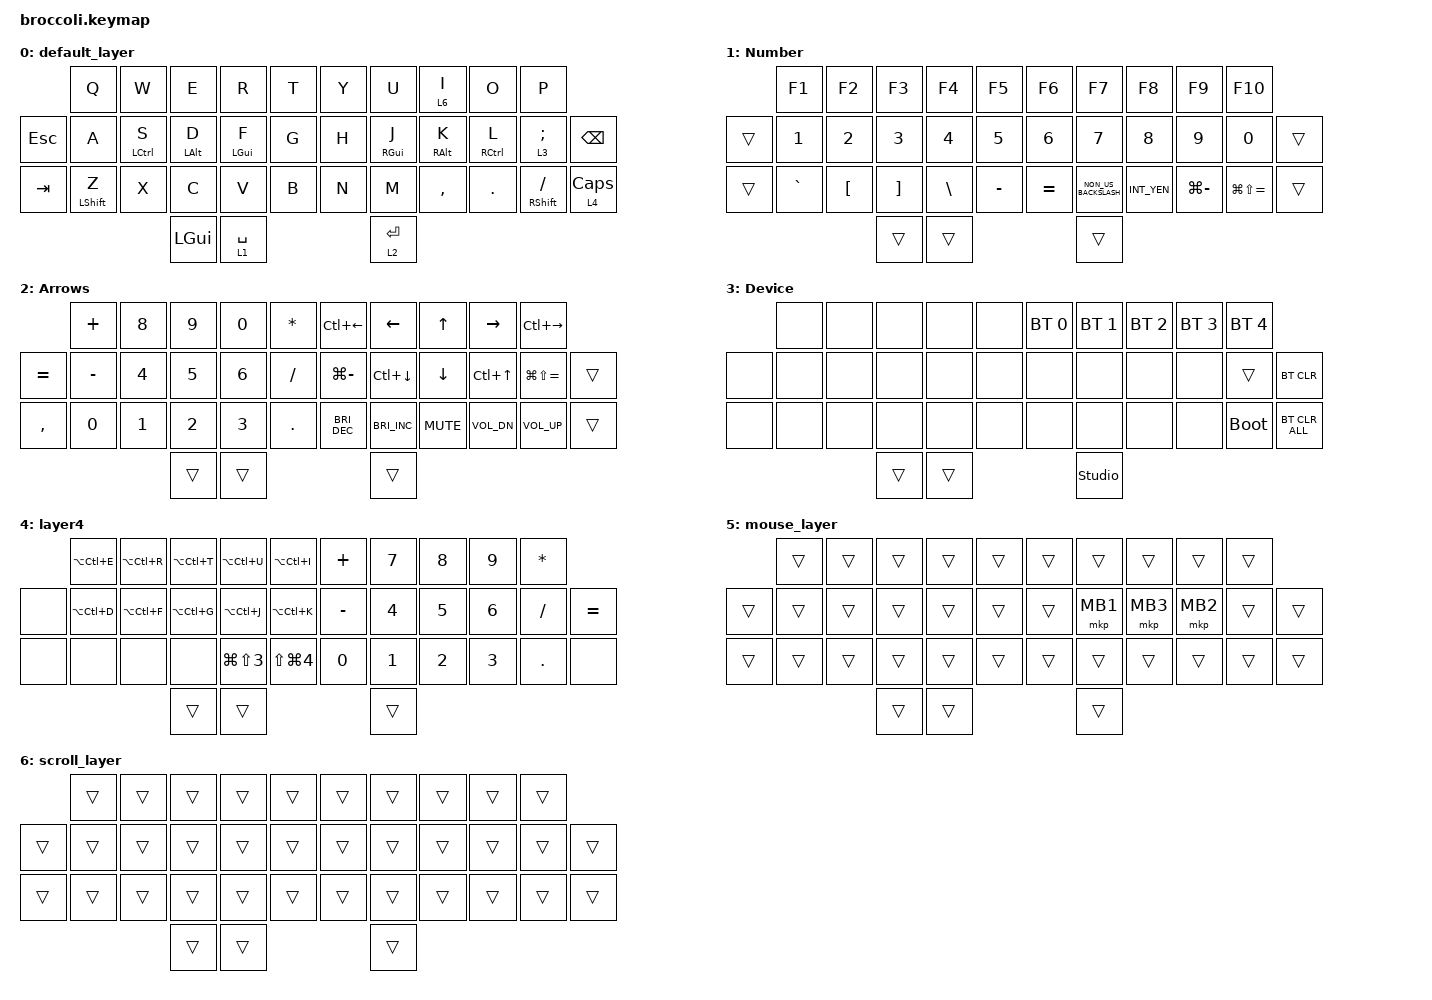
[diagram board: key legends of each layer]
// This file was generated from a template. Edit it to match your keyboard.
// See https://zmk.dev/docs/development/hardware-integration/new-shield for more instructions.

#include <input/processors.dtsi>
#include <dt-bindings/zmk/input_transform.h>
#include <dt-bindings/zmk/mouse.h>
#include <behaviors.dtsi>
#include <dt-bindings/zmk/bt.h>
#include <dt-bindings/zmk/keys.h>
#include <dt-bindings/zmk/pointing.h>

/ {
    // Define a default keymap here.
    // See https://zmk.dev/docs/development/hardware-integration/new-shield#default-keymap.

    keymap {
        compatible = "zmk,keymap";

        default_layer {
            bindings = <
         &kp Q             &kp W               &kp E           &kp R           &kp T    &kp Y  &kp U            &lt 6 I             &kp O                &kp P
&kp ESC  &kp A             &mt LEFT_CONTROL S  &mt LEFT_ALT D  &mt LEFT_GUI F  &kp G    &kp H  &mt RIGHT_GUI J  &hmr_r RIGHT_ALT K  &mt RIGHT_CONTROL L  &lt 3 SEMICOLON        &kp BACKSPACE
&kp TAB  &mt LEFT_SHIFT Z  &kp X               &kp C           &kp V           &kp B    &kp N  &kp M            &kp COMMA           &kp DOT              &mt RIGHT_SHIFT SLASH  &lt 4 CAPSLOCK
                                               &kp LEFT_GUI    &lt 1 SPACE                     &lt 2 ENTER
            >;
        };

        Number {
            bindings = <
        &kp F1     &kp F2    &kp F3    &kp F4    &kp F5       &kp F6     &kp F7                &kp F8       &kp F9         &kp F10
&trans  &kp N1     &kp N2    &kp N3    &kp N4    &kp N5       &kp N6     &kp N7                &kp N8       &kp N9         &kp N0             &trans
&trans  &kp GRAVE  &kp LBKT  &kp RBKT  &kp BSLH  &kp MINUS    &kp EQUAL  &kp NON_US_BACKSLASH  &kp INT_YEN  &kp LG(MINUS)  &kp LG(LS(EQUAL))  &trans
                             &trans    &trans                            &trans
            >;
        };

        Arrows {
            bindings = <
           &kp PLUS   &kp N8  &kp N9  &kp N0  &kp ASTERISK    &kp LC(LEFT_ARROW)    &kp LEFT              &kp UP_ARROW    &kp RIGHT         &kp LC(RIGHT)
&kp EQUAL  &kp MINUS  &kp N4  &kp N5  &kp N6  &kp FSLH        &kp LG(MINUS)         &kp LC(DOWN)          &kp DOWN_ARROW  &kp LC(UP_ARROW)  &kp LG(LS(EQUAL))  &trans
&kp COMMA  &kp N0     &kp N1  &kp N2  &kp N3  &kp DOT         &kp C_BRIGHTNESS_DEC  &kp C_BRIGHTNESS_INC  &kp K_MUTE      &kp C_VOL_DN      &kp C_VOLUME_UP    &trans
                              &trans  &trans                                        &trans
            >;
        };

        Device {
            bindings = <
       &none  &none  &none   &none   &none    &bt BT_SEL 0  &bt BT_SEL 1    &bt BT_SEL 2  &bt BT_SEL 3  &bt BT_SEL 4
&none  &none  &none  &none   &none   &none    &none         &none           &none         &none         &trans        &bt BT_CLR
&none  &none  &none  &none   &none   &none    &none         &none           &none         &none         &bootloader   &bt BT_CLR_ALL
                     &trans  &trans                         &studio_unlock
            >;
        };

        layer4 {
            bindings = <
       &kp LA(LC(E))  &kp LA(LC(R))  &kp LA(LC(T))  &kp LA(LC(U))         &kp LA(LC(I))           &kp PLUS   &kp N7  &kp N8  &kp N9  &kp ASTERISK
&none  &kp LA(LC(D))  &kp LA(LC(F))  &kp LA(LC(G))  &kp LA(LC(J))         &kp LA(LC(K))           &kp MINUS  &kp N4  &kp N5  &kp N6  &kp FSLH      &kp EQUAL
&none  &none          &none          &none          &kp LG(LS(NUMBER_3))  &kp LS(LG(NUMBER_4))    &kp N0     &kp N1  &kp N2  &kp N3  &kp DOT       &none
                                     &trans         &trans                                                   &trans
            >;
        };

        mouse_layer {
            bindings = <
        &trans  &trans  &trans  &trans  &trans    &trans  &trans    &trans    &trans    &trans
&trans  &trans  &trans  &trans  &trans  &trans    &trans  &mkp MB1  &mkp MB3  &mkp MB2  &trans  &trans
&trans  &trans  &trans  &trans  &trans  &trans    &trans  &trans    &trans    &trans    &trans  &trans
                        &trans  &trans                    &trans
            >;

            label = "mouse_layer";
        };

        scroll_layer {
            bindings = <
        &trans  &trans  &trans  &trans  &trans    &trans  &trans  &trans  &trans  &trans
&trans  &trans  &trans  &trans  &trans  &trans    &trans  &trans  &trans  &trans  &trans  &trans
&trans  &trans  &trans  &trans  &trans  &trans    &trans  &trans  &trans  &trans  &trans  &trans
                        &trans  &trans                    &trans
            >;

            label = "scroll_layer";
        };
    };

    combos {
        compatible = "zmk,combos";

        Tab {
            bindings = <&kp TAB>;
            key-positions = <1 2>;
            layers = <0>;
            require-prior-idle-ms = <150>;
        };

        Escape {
            bindings = <&kp ESC>;
            key-positions = <0 1>;
            layers = <0>;
            require-prior-idle-ms = <150>;
        };

        Scroll {
            bindings = <&mo 3>;
            key-positions = <17 18 19>;
            layers = <0>;
        };
    };

    behaviors {
        auto_caps_word: auto_caps_word {
            compatible = "zmk,behavior-auto-caps-word";
            #binding-cells = <0>;
            continue-list = <INT1 BACKSPACE DELETE>;
            display-name = "Auto Caps Word";
            auto-activate-upper-count = <3>;
        };

        hmr_l: hmr_l {
            compatible = "zmk,behavior-hold-tap";
            label = "HMR_L";
            bindings = <&kp>, <&kp>;

            #binding-cells = <2>;
            tapping-term-ms = <300>;
            flavor = "balanced";
            hold-trigger-key-positions = <5 32 33 28 29 19 18 17 16 6 7 8 9 20 21 30 31>;
            hold-trigger-on-release;
            require-prior-idle-ms = <150>;
        };

        hmr_r: hmr_r {
            compatible = "zmk,behavior-hold-tap";
            label = "HMR_R";
            bindings = <&kp>, <&kp>;

            #binding-cells = <2>;
            tapping-term-ms = <300>;
            flavor = "balanced";
            hold-trigger-key-positions = <22 23 24 14 13 12 11 10 0 1 2 3 4 15 25 26 27>;
            hold-trigger-on-release;
            require-prior-idle-ms = <150>;
        };

        lt_thumb: lt_thumb {
            compatible = "zmk,behavior-hold-tap";
            label = "LT_THUMB";
            bindings = <&mo>, <&kp>;

            #binding-cells = <2>;
            tapping-term-ms = <250>;
        };

        lt_arrow: lt_arrow {
            compatible = "zmk,behavior-hold-tap";
            label = "LT_ARROW";
            bindings = <&mo>, <&kp>;

            #binding-cells = <2>;
            flavor = "balanced";
            tapping-term-ms = <200>;
            require-prior-idle-ms = <150>;
        };

        lt_scroll: lt_scroll {
            compatible = "zmk,behavior-hold-tap";
            label = "LT_SCROLL";
            #binding-cells = <2>;
            tapping-term-ms = <300>;
            flavor = "tap-preferred";
            bindings = <&mo>, <&kp>;

            hold-while-undecided;
            require-prior-idle-ms = <150>;
        };

        hmr_l_2: hmr_l_2 {
            compatible = "zmk,behavior-hold-tap";
            label = "HMR_L_2";
            bindings = <&kp>, <&kp>;

            #binding-cells = <2>;
            tapping-term-ms = <300>;
            flavor = "balanced";
            hold-trigger-key-positions = <5 32 33 28 29 19 18 17 16 6 7 8 9 21 20 31 30>;
            hold-trigger-on-release;
            require-prior-idle-ms = <150>;
            hold-while-undecided;
        };

        hmr_r_2: hmr_r_2 {
            compatible = "zmk,behavior-hold-tap";
            label = "HMR_R_2";
            bindings = <&kp>, <&kp>;

            #binding-cells = <2>;
            tapping-term-ms = <300>;
            flavor = "balanced";
            hold-trigger-key-positions = <22 23 24 14 13 12 11 10 0 1 2 3 4 25 26 27 15>;
            hold-trigger-on-release;
            require-prior-idle-ms = <150>;
            hold-while-undecided;
        };

        hmr_num_l: hmr_num_l {
            compatible = "zmk,behavior-hold-tap";
            label = "HMR_NUM_L";
            bindings = <&kp>, <&kp>;

            #binding-cells = <2>;
            tapping-term-ms = <300>;
            flavor = "tap-preferred";
            hold-trigger-key-positions = <5 32 33 28 29 19 18 17 16 6 7 8 9 20 21 30 31>;
            hold-trigger-on-release;
            require-prior-idle-ms = <150>;
            retro-tap;
        };

        hmr_num_r: hmr_num_r {
            compatible = "zmk,behavior-hold-tap";
            label = "HMR_NUM_R";
            bindings = <&kp>, <&kp>;

            #binding-cells = <2>;
            tapping-term-ms = <300>;
            flavor = "tap-preferred";
            hold-trigger-key-positions = <22 23 24 14 13 12 11 10 0 1 2 3 4 25 26 27 15>;
            hold-trigger-on-release;
            require-prior-idle-ms = <150>;
            retro-tap;
        };
    };
};

&trackball_listener {
    input-processors = <&zip_xy_swap_mapper &zip_xy_transform INPUT_TRANSFORM_X_INVERT>;

    scroller {
        layers = <3>;
        input-processors = <&zip_xy_swap_mapper &zip_xy_transform INPUT_TRANSFORM_X_INVERT &zip_xy_to_scroll_mapper &zip_scroll_scaler 1 16>;
    };
};
